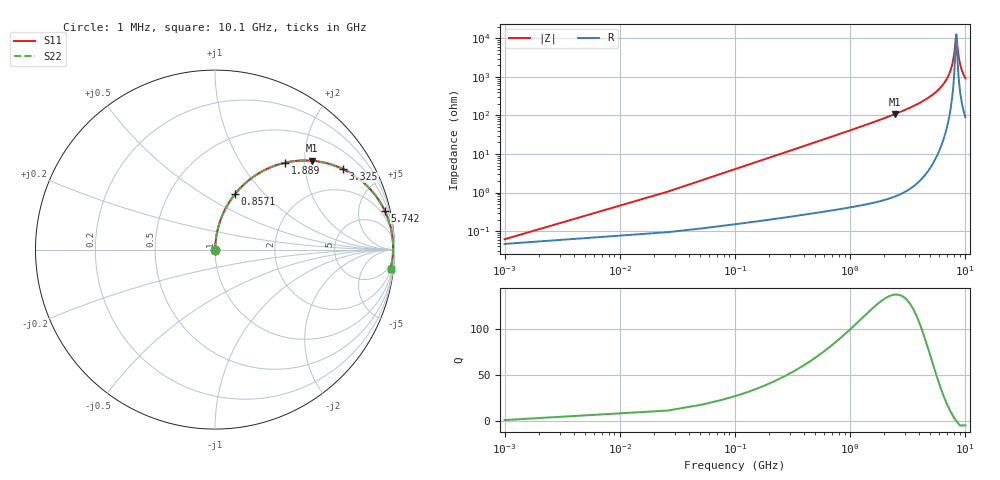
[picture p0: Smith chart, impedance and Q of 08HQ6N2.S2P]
! Coilcraft 0805HQ-6N2 Chip Inductor
! 19 June 2002
# MHZ S MA R 50
!Freq  MagS11  AngS11  MagS21  AngS21  MagS12  AngS12  MagS22  AngS22
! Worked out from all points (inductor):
!   403 points, 1 MHz to 10.1 GHz, reference 50 ohm
!   read as one part in series: L = 6.4 nH near 51.36 MHz
!   highest Q = 137 at 2.469 GHz (marker M1), where L = 7 nH
!   self-resonance near 8.386 GHz
!   S11 on the Smith chart (normalised r, x): 1 MHz: 1.00, +0.00; 857.1 MHz: 1.01, +0.70; 1.889 GHz: 1.01, +1.60; 3.325 GHz: 1.02, +3.17; 5.742 GHz: 1.18, +8.65; 10.1 GHz: 3, -18
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1  0.0006145 40.8  0.9995 -0.0  0.9995 -0.0  0.0006145 40.8
76.54  0.03075 85.7  0.9982 -1.8  0.9982 -1.8  0.03075 85.7
126.9  0.05092 85.2  0.9971 -2.9  0.9971 -2.9  0.05092 85.2
177.26  0.07102 84.4  0.9956 -4.1  0.9956 -4.1  0.07102 84.4
429.06  0.17 79.3  0.9827 -9.8  0.9827 -9.8  0.17 79.3
857.12  0.3278 70.2  0.9412 -19.1  0.9412 -19.1  0.3278 70.2
1688.06  0.5753 54.4  0.8134 -35.1  0.8134 -35.1  0.5753 54.4
1889.5  0.6225 51.1  0.7779 -38.5  0.7779 -38.5  0.6225 51.1
2468.64  0.7331 42.4  0.6748 -47.1  0.6748 -47.1  0.7331 42.4
3324.76  0.8427 32.1  0.5318 -57.4  0.5318 -57.4  0.8427 32.1
3375.12  0.8476 31.6  0.5239 -58.0  0.5239 -58.0  0.8476 31.6
5062.18  0.9504 17.3  0.2976 -71.9  0.2976 -71.9  0.9504 17.3
5742.04  0.9698 13.0  0.2242 -75.8  0.2242 -75.8  0.9698 13.0
6749.24  0.9859 7.4  0.1293 -80.0  0.1293 -80.0  0.9859 7.4
7781.62  0.992 2.6  0.04606 -78.7  0.04606 -78.7  0.992 2.6
8083.78  0.9923 1.3  0.02431 -71.0  0.02431 -71.0  0.9923 1.3
8360.76  0.9922 0.2  0.008494 -23.3  0.008494 -23.3  0.9922 0.2
8436.3  0.9921 -0.1  0.008122 13.3  0.008122 13.3  0.9921 -0.1
8713.28  0.9915 -1.2  0.02242 67.0  0.02242 67.0  0.9915 -1.2
9015.44  0.9904 -2.3  0.04172 75.5  0.04172 75.5  0.9904 -2.3
9468.68  0.9881 -4.0  0.07011 78.2  0.07011 78.2  0.9881 -4.0
10100  0.9836 -6.1  0.1076 78.2  0.1076 78.2  0.9836 -6.1
